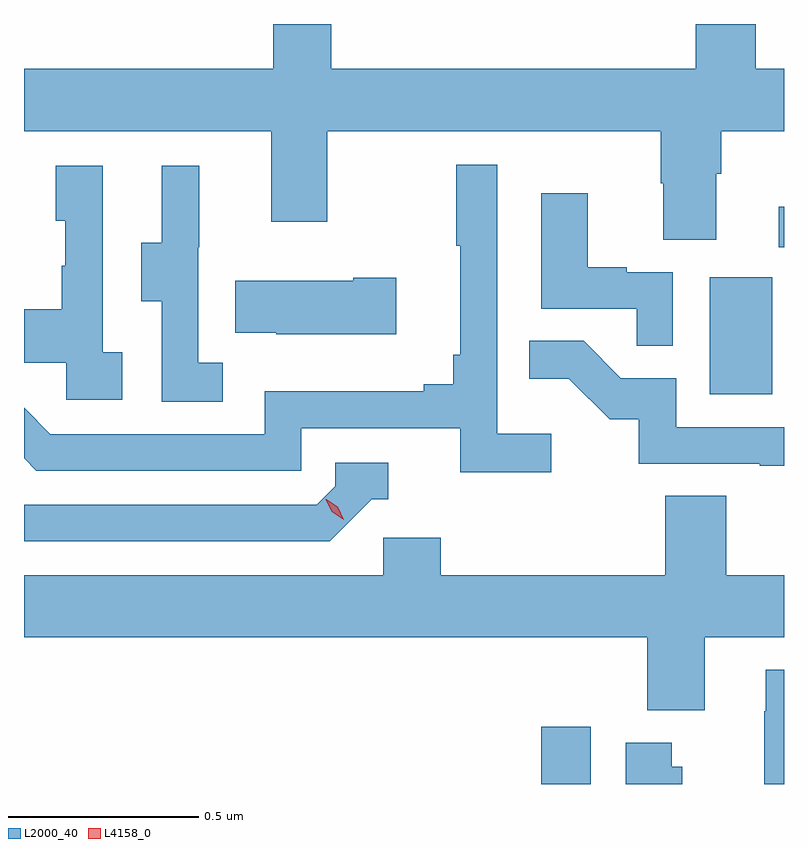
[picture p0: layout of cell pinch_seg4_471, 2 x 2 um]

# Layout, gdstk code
import gdstk
lib = gdstk.Library(unit=1e-6, precision=1e-09)
def R(c, l, rs):  # rectangles x0, y0, x1, y1
    for r in rs: c.add(gdstk.rectangle(r[:2], r[2:], *l))
def P(c, l, *ps):  # polygons
    for p in ps: c.add(gdstk.Polygon(p, *l))
L2000_40 = (2000, 40)
L4158_0 = (4158, 0)

pinch_seg4_471 = lib.new_cell('pinch_seg4_471')
R(pinch_seg4_471, L2000_40, [(907.286,753.81,907.417,753.961), (907.73,754.836,907.894,755.143), (907.911,755.223,907.925,755.329)])
P(pinch_seg4_471, L2000_40, [(907.747,755.416),(907.76,755.416),(907.76,755.528),(907.925,755.528),(907.925,755.692),(907.85,755.692),(907.85,755.81),(907.693,755.81),(907.693,755.692),(906.733,755.692),(906.733,755.81),(906.581,755.81),(906.581,755.692),(905.925,755.692),(905.925,755.528),(906.575,755.528),(906.575,755.289),(906.723,755.289),(906.723,755.528),(907.6,755.528),(907.6,755.391),(907.607,755.391),(907.607,755.242),(907.747,755.242)],
  [(907.312,754.732),(907.17,754.732),(907.17,755.44),(907.062,755.44),(907.062,755.227),(907.073,755.227),(907.073,754.939),(907.054,754.939),(907.054,754.862),(906.977,754.862),(906.977,754.843),(906.558,754.843),(906.558,754.731),(905.994,754.731),(905.925,754.8),(905.925,754.667),(905.957,754.635),(906.654,754.635),(906.654,754.746),(907.073,754.746),(907.073,754.63),(907.312,754.63)],
  [(906.184,754.946),(906.132,754.946),(906.132,755.437),(906.008,755.437),(906.008,755.292),(906.034,755.292),(906.034,755.174),(906.024,755.174),(906.024,755.059),(905.925,755.059),(905.925,754.919),(906.036,754.919),(906.036,754.821),(906.184,754.821)],
  [(906.448,754.919),(906.384,754.919),(906.384,755.223),(906.386,755.223),(906.386,755.437),(906.287,755.437),(906.287,755.235),(906.233,755.235),(906.233,755.08),(906.288,755.08),(906.288,754.816),(906.448,754.816)],
  [(907.632,755.157),(907.511,755.157),(907.511,755.17),(907.408,755.17),(907.408,755.365),(907.286,755.365),(907.286,755.061),(907.537,755.061),(907.537,754.963),(907.632,754.963)],
  [(906.904,755.142),(906.791,755.142),(906.791,755.134),(906.481,755.134),(906.481,754.997),(906.589,754.997),(906.589,754.994),(906.904,754.994)],
  [(907.925,754.749),(907.641,754.749),(907.641,754.878),(907.496,754.878),(907.398,754.976),(907.255,754.976),(907.255,754.877),(907.359,754.877),(907.466,754.77),(907.543,754.77),(907.543,754.653),(907.861,754.653),(907.861,754.648),(907.925,754.648)],
  [(906.84,754.56),(906.883,754.56),(906.883,754.656),(906.744,754.656),(906.744,754.593),(906.696,754.545),(905.925,754.545),(905.925,754.449),(906.729,754.449)],
  [(907.717,754.196),(907.925,754.196),(907.925,754.36),(907.773,754.36),(907.773,754.568),(907.613,754.568),(907.613,754.36),(907.022,754.36),(907.022,754.458),(906.87,754.458),(906.87,754.36),(905.925,754.36),(905.925,754.196),(907.565,754.196),(907.565,754.004),(907.717,754.004)],
  [(907.925,754.111),(907.877,754.111),(907.877,754.001),(907.873,754.001),(907.873,753.81),(907.925,753.81)],
  [(907.657,753.855),(907.63,753.855),(907.63,753.919),(907.508,753.919),(907.508,753.81),(907.657,753.81)])
P(pinch_seg4_471, L4158_0, [(906.766,754.506),(906.735,754.526),(906.719,754.559),(906.719,754.559),(906.72,754.559),(906.75,754.539),(906.766,754.506),(906.766,754.506)])

lib.write_gds('pinch_seg4_471.gds')
